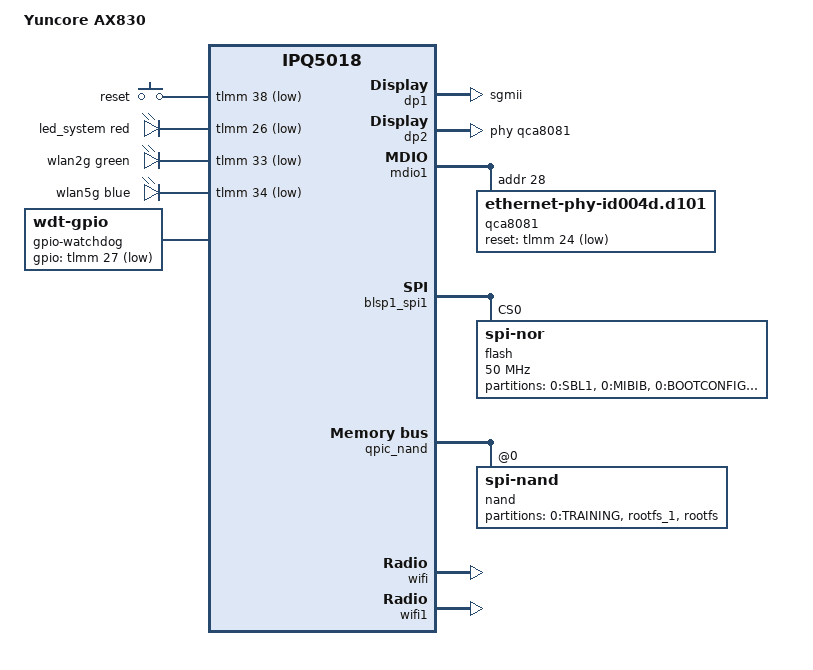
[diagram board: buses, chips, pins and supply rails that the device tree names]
// SPDX-License-Identifier: GPL-2.0-or-later OR MIT

/dts-v1/;

#include "ipq5018.dtsi"
#include "ipq5018-ess.dtsi"
#include "ipq5018-nss.dtsi"
#include "ipq5018-common.dtsi"

#include <dt-bindings/gpio/gpio.h>
#include <dt-bindings/input/input.h>
#include <dt-bindings/leds/common.h>

/ {
	model = "Yuncore AX830";
	compatible = "yuncore,ax830", "qcom,ipq5018";

	aliases {
		serial0 = &blsp1_uart1;
		led-boot = &led_system;
		led-failsafe = &led_system;
		led-running = &led_system;
		led-upgrade = &led_system;
	};

	chosen {
		stdout-path = "serial0:115200n8";
		bootargs-append = " root=/dev/ubiblock0_1";
	};

	keys {
		compatible = "gpio-keys";

		reset {
			label = "reset";
			gpios = <&tlmm 38 GPIO_ACTIVE_LOW>;
			linux,code = <KEY_RESTART>;
		};
	};

	leds {
		compatible = "gpio-leds";

		led_system: system {
			function = LED_FUNCTION_POWER;
			color = <LED_COLOR_ID_RED>;
			gpios = <&tlmm 26 GPIO_ACTIVE_LOW>;
		};

		wlan2g {
			function = LED_FUNCTION_WLAN_2GHZ;
			color = <LED_COLOR_ID_GREEN>;
			gpios = <&tlmm 33 GPIO_ACTIVE_LOW>;
			linux,default-trigger = "phy0radio";
		};

		wlan5g {
			function = LED_FUNCTION_WLAN_5GHZ;
			color = <LED_COLOR_ID_BLUE>;
			gpios = <&tlmm 34 GPIO_ACTIVE_LOW>;
			linux,default-trigger = "phy1radio";
		};
	};

	gpio-watchdog {
		compatible = "linux,wdt-gpio";
		gpios = <&tlmm 27 GPIO_ACTIVE_LOW>;
		hw_algo = "toggle";
		hw_margin_ms = <5000>;
		always-running;
	};
};

&dp1 {
	status = "okay";

	label = "lan";
	nvmem-cells = <&hw_mac_addr 0>;
	nvmem-cell-names = "mac-address";
	phy-mode = "sgmii";
};

&dp2 {
	status = "okay";

	label = "wan";
	phy-handle = <&qca8081>;
	nvmem-cells = <&hw_mac_addr 1>;
	nvmem-cell-names = "mac-address";
};

&mdio1 {
	status = "okay";

	pinctrl-0 = <&mdio1_pins>;
	pinctrl-names = "default";

	qca8081: ethernet-phy@28 {
		compatible = "ethernet-phy-id004d.d101";
		reg = <28>;
		reset-deassert-us = <10000>;
		reset-gpios = <&tlmm 24 GPIO_ACTIVE_LOW>;
	};
};

&blsp1_spi1 {
	status = "okay";

	flash@0 {
		compatible = "jedec,spi-nor";
		spi-max-frequency = <50000000>;
		reg = <0>;

		partitions {
			compatible = "fixed-partitions";
			#address-cells = <1>;
			#size-cells = <1>;

			partition@0 {
				label = "0:SBL1";
				reg = <0x00 0x30000>;
				read-only;
			};

			partition@30000 {
				label = "0:MIBIB";
				reg = <0x30000 0x10000>;
				read-only;
			};

			partition@40000 {
				label = "0:BOOTCONFIG";
				reg = <0x40000 0x10000>;
				read-only;
			};

			partition@50000 {
				label = "0:BOOTCONFIG1";
				reg = <0x50000 0x10000>;
				read-only;
			};

			partition@60000 {
				label = "0:QSEE";
				reg = <0x60000 0xa0000>;
				read-only;
			};

			partition@100000 {
				label = "0:QSEE_1";
				reg = <0x100000 0xa0000>;
				read-only;
			};

			partition@1a0000 {
				label = "0:DEVCFG";
				reg = <0x1a0000 0x10000>;
				read-only;
			};

			partition@1b0000 {
				label = "0:DEVCFG_1";
				reg = <0x1b0000 0x10000>;
				read-only;
			};

			partition@1c0000 {
				label = "0:CDT";
				reg = <0x1c0000 0x10000>;
				read-only;
			};

			partition@1d0000 {
				label = "0:CDT_1";
				reg = <0x1d0000 0x10000>;
				read-only;
			};

			partition@1e0000 {
				label = "0:APPSBLENV";
				reg = <0x1e0000 0x10000>;
			};

			partition@1f0000 {
				label = "0:APPSBL";
				reg = <0x1f0000 0xa0000>;
				read-only;
			};

			partition@290000 {
				label = "0:APPSBL_1";
				reg = <0x290000 0xa0000>;
				read-only;
			};

			partition@330000 {
				label = "0:ART";
				reg = <0x330000 0x70000>;
				read-only;

				nvmem-layout {
					compatible = "fixed-layout";
					#address-cells = <1>;
					#size-cells = <1>;

					hw_mac_addr: hw_mac_addr {
						#nvmem-cell-cells = <1>;
						compatible = "mac-base";
						reg = <0x0 0x6>;
					};
				};
			};
		};
	};
};

&qpic_nand {
	status = "okay";

	pinctrl-0 = <&qpic_pins>;
	pinctrl-names = "default";

	partitions {
		status = "disabled";
	};

	nand@0 {
		compatible = "spi-nand";
		reg = <0>;

		nand-ecc-engine = <&qpic_nand>;
		nand-ecc-strength = <4>;
		nand-ecc-step-size = <512>;
		nand-bus-width = <8>;

		partitions {
			compatible = "fixed-partitions";
			#address-cells = <1>;
			#size-cells = <1>;

			partition@0 {
				label = "0:TRAINING";
				reg = <0x00 0x80000>;
			};

			partition@80000 {
				label = "rootfs_1";
				reg = <0x80000 0x3e00000>;
			};

			partition@3e80000 {
				label = "rootfs";
				reg = <0x3e80000 0x3e00000>;
			};
		};
	};
};

&wifi {
	status = "okay";

	qcom,rproc = <&q6_wcss_pd1>;
	qcom,userpd-subsys-name = "q6v5_wcss_userpd1";
	qcom,ath11k-calibration-variant = "Yuncore-AX830";
};

&wifi1 {
	status = "okay";

	qcom,rproc = <&q6_wcss_pd3>;
	qcom,userpd-subsys-name = "q6v5_wcss_userpd3";
	qcom,ath11k-calibration-variant = "Yuncore-AX830";
};
